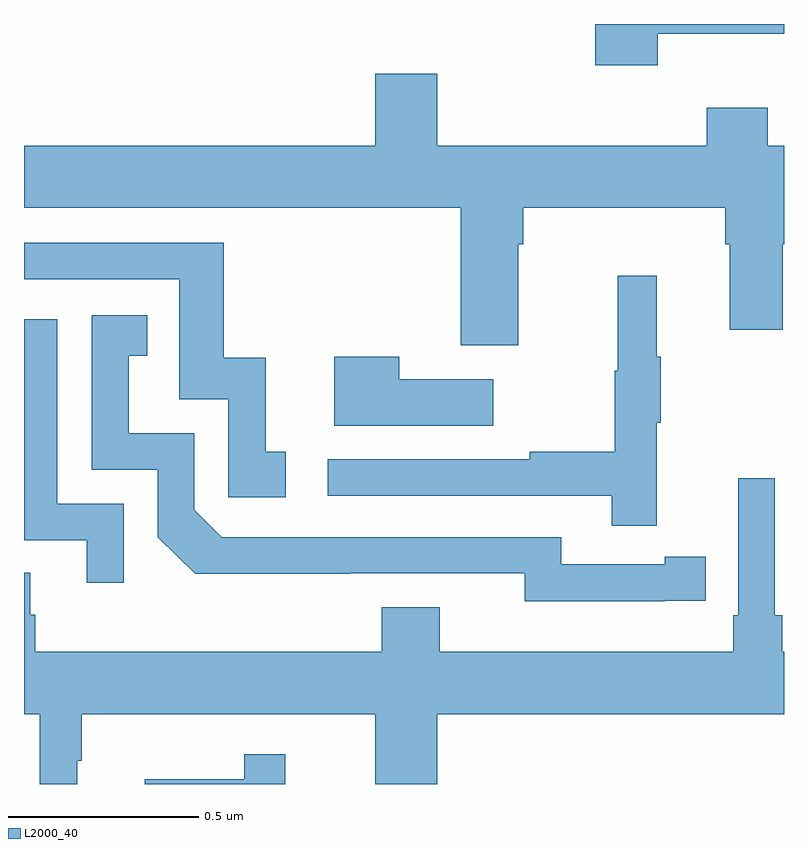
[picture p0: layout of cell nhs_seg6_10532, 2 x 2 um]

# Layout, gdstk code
import gdstk
lib = gdstk.Library(unit=1e-6, precision=1e-09)
def P(c, l, *ps):  # polygons
    for p in ps: c.add(gdstk.Polygon(p, *l))
L2000_40 = (2000, 40)

nhs_seg6_10532 = lib.new_cell('nhs_seg6_10532')
P(nhs_seg6_10532, L2000_40, [(249.668,934.475),(250,934.475),(250,934.5),(249.503,934.5),(249.503,934.392),(249.668,934.392)],
  [(249.301,933.92),(249.314,933.92),(249.314,934.016),(249.845,934.016),(249.845,933.92),(249.857,933.92),(249.857,933.696),(249.997,933.696),(249.997,933.92),(250,933.92),(250,934.18),(249.957,934.18),(249.957,934.279),(249.797,934.279),(249.797,934.18),(249.088,934.18),(249.088,934.369),(248.924,934.369),(248.924,934.18),(248,934.18),(248,934.016),(249.149,934.016),(249.149,933.654),(249.301,933.654)],
  [(248.689,933.375),(248.636,933.375),(248.636,933.622),(248.525,933.622),(248.525,933.924),(248,933.924),(248,933.828),(248.409,933.828),(248.409,933.513),(248.538,933.513),(248.538,933.255),(248.689,933.255)],
  [(249.665,933.451),(249.676,933.451),(249.676,933.625),(249.665,933.625),(249.665,933.838),(249.562,933.838),(249.562,933.588),(249.555,933.588),(249.555,933.374),(249.331,933.374),(249.331,933.354),(248.799,933.354),(248.799,933.258),(249.547,933.258),(249.547,933.18),(249.665,933.18)],
  [(249.686,932.982),(249.794,932.982),(249.794,933.098),(249.686,933.098),(249.686,933.078),(249.414,933.078),(249.414,933.15),(248.52,933.15),(248.448,933.222),(248.448,933.423),(248.275,933.423),(248.275,933.627),(248.324,933.627),(248.324,933.733),(248.178,933.733),(248.178,933.327),(248.352,933.327),(248.352,933.15),(248.45,933.053),(248.858,933.053),(248.858,933.054),(249.318,933.054),(249.318,932.981),(249.686,932.981)],
  [(248.262,933.237),(248.088,933.237),(248.088,933.723),(248,933.723),(248,933.141),(248.165,933.141),(248.165,933.03),(248.262,933.03)],
  [(249.235,933.565),(248.987,933.565),(248.987,933.625),(248.816,933.625),(248.816,933.443),(249.235,933.443)],
  [(248.14,932.561),(248.152,932.561),(248.152,932.684),(248.924,932.684),(248.924,932.5),(249.088,932.5),(249.088,932.684),(250,932.684),(250,932.848),(249.995,932.848),(249.995,932.944),(249.976,932.944),(249.976,933.304),(249.879,933.304),(249.879,932.944),(249.866,932.944),(249.866,932.848),(249.094,932.848),(249.094,932.965),(248.942,932.965),(248.942,932.848),(248.03,932.848),(248.03,932.946),(248.017,932.946),(248.017,933.056),(248,933.056),(248,932.684),(248.041,932.684),(248.041,932.5),(248.14,932.5)],
  [(248.688,932.578),(248.58,932.578),(248.58,932.512),(248.318,932.512),(248.318,932.5),(248.688,932.5)])

lib.write_gds('nhs_seg6_10532.gds')
